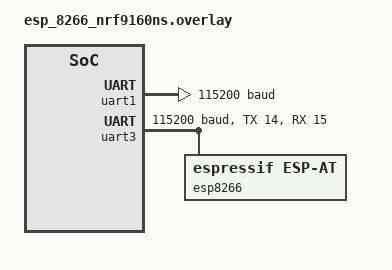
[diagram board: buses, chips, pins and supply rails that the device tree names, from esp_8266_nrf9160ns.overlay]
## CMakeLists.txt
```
#
# Copyright (c) 2021 Nordic Semiconductor
#
# SPDX-License-Identifier: LicenseRef-Nordic-5-Clause
#

cmake_minimum_required(VERSION 3.13.1)

find_package(Zephyr REQUIRED HINTS $ENV{ZEPHYR_BASE})
project(location_sample)

zephyr_library_sources(src/main.c)
```

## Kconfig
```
#
# Copyright (c) 2021 Nordic Semiconductor ASA
#
# SPDX-License-Identifier: LicenseRef-Nordic-5-Clause
#

menu "Location sample"

choice LOCATION_SAMPLE_GNSS_ANTENNA
	default LOCATION_SAMPLE_GNSS_ANTENNA_ONBOARD
	prompt "Select which antenna to use for GNSS"

config LOCATION_SAMPLE_GNSS_ANTENNA_ONBOARD
	bool "Use onboard antenna"

config LOCATION_SAMPLE_GNSS_ANTENNA_EXTERNAL
	bool "Use external antenna"

endchoice

config LOCATION_SAMPLE_GNSS_AT_MAGPIO
	string "AT%XMAGPIO command"
	default "AT\%XMAGPIO=1,0,0,1,1,1574,1577" if BOARD_NRF9160DK_NRF9160_NS
	default "AT\%XMAGPIO=1,1,1,7,1,746,803,2,698,748,2,1710,2200,3,824,894,4,880,960,5,791,849,7,1565,1586" if BOARD_THINGY91_NRF9160_NS
	help
	  Defines what is the AT%XMAGPIO command to be sent to GNSS module. Leave
	  empty if this command should not be sent.

config LOCATION_SAMPLE_GNSS_AT_COEX0
	string "AT%XCOEX0 command"
	default "AT\%XCOEX0=1,1,1565,1586" if (BOARD_NRF9160DK_NRF9160_NS || BOARD_THINGY91_NRF9160_NS) && LOCATION_SAMPLE_GNSS_ANTENNA_ONBOARD
	default "AT\%XCOEX0" if (BOARD_NRF9160DK_NRF9160_NS || BOARD_THINGY91_NRF9160_NS) && LOCATION_SAMPLE_GNSS_ANTENNA_EXTERNAL
	help
	  Defines what is the AT%XCOEX0 command to be sent to GNSS module. Leave
	  empty if this command should not be sent.

endmenu

menu "Zephyr Kernel"
source "Kconfig.zephyr"
endmenu
```

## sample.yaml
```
sample:
  name: location Sample
tests:
  samples.nrf9160.location:
    build_only: true
    platform_allow: nrf9160dk_nrf9160_ns
    integration_platforms:
      - nrf9160dk_nrf9160_ns
    tags: ci_build
  samples.nrf9160.location.esp_wifi:
    build_only: true
    platform_allow: nrf9160dk_nrf9160_ns
    integration_platforms:
      - nrf9160dk_nrf9160_ns
    extra_args: OVERLAY_CONFIG=overlay-esp-wifi.conf
                DTC_OVERLAY_FILE="esp_8266_nrf9160ns.overlay"
    tags: ci_build
  samples.nrf9160.location.pgps:
    build_only: true
    platform_allow: nrf9160dk_nrf9160_ns
    integration_platforms:
      - nrf9160dk_nrf9160_ns
    extra_args: OVERLAY_CONFIG=overlay-pgps.conf
    tags: ci_build
```

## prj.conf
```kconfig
#
# Copyright (c) 2021 Nordic Semiconductor ASA
#
# SPDX-License-Identifier: LicenseRef-Nordic-5-Clause
#

# General config
CONFIG_FPU=y
CONFIG_NEWLIB_LIBC=y
CONFIG_NEWLIB_LIBC_FLOAT_PRINTF=y
CONFIG_NRF_MODEM_LIB=y

# Heap and stacks
CONFIG_MAIN_STACK_SIZE=2048
# Extended memory heap size needed for encoding REST messages to JSON
CONFIG_HEAP_MEM_POOL_SIZE=8192
CONFIG_SYSTEM_WORKQUEUE_STACK_SIZE=1536

# Location sample
CONFIG_LOCATION=y
#CONFIG_LOCATION_SAMPLE_GNSS_ANTENNA_EXTERNAL=y

# Logging
CONFIG_LOG=y
CONFIG_LOG_MODE_IMMEDIATE=y

# Network
CONFIG_NETWORKING=y
CONFIG_NET_NATIVE=n
CONFIG_NET_SOCKETS=y
CONFIG_NET_SOCKETS_OFFLOAD=y

# LTE link control
CONFIG_LTE_LINK_CONTROL=y
CONFIG_LTE_NETWORK_MODE_LTE_M_GPS=y
CONFIG_LTE_AUTO_INIT_AND_CONNECT=n
CONFIG_LTE_EDRX_REQ=y
# Request PSM active time of 8 seconds.
CONFIG_LTE_PSM_REQ_RAT="00000100"

# nRF Cloud (for A-GPS and cell location)
CONFIG_NRF_CLOUD_REST=y
CONFIG_NRF_CLOUD_AGPS=y
CONFIG_MODEM_INFO=y # required by CONFIG_NRF_CLOUD_AGPS
CONFIG_MODEM_INFO_ADD_NETWORK=y # required by CONFIG_NRF_CLOUD_AGPS

# Library that maintains the current date time UTC for A-GPS and P-GPS purposes
CONFIG_DATE_TIME=y

# Modem JWT
CONFIG_MODEM_JWT=y

# Multicell location service selection
CONFIG_MULTICELL_LOCATION_SERVICE_NRF_CLOUD=y
```

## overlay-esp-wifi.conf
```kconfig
# ESP 8266 WIFI
CONFIG_WIFI=y
CONFIG_WIFI_LOG_LEVEL_DBG=y # optional
CONFIG_WIFI_OFFLOAD=y

CONFIG_NET_IPV4=y  # must for ESP8266 to compile
CONFIG_NET_NATIVE=y # must for ESP8266 to compile

CONFIG_WIFI_ESP_AT=y
CONFIG_WIFI_ESP_AT_SCAN_MAC_ADDRESS=y
CONFIG_WIFI_ESP_AT_SCAN_PASSIVE=n
CONFIG_WIFI_ESP_AT_VERSION_1_7=y
CONFIG_WIFI_ESP_AT_SCAN_RESULT_RSSI_ORDERED=y

CONFIG_LOCATION_METHOD_WIFI=y
```

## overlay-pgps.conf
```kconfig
#
# Copyright (c) 2021 Nordic Semiconductor ASA
#
# SPDX-License-Identifier: LicenseRef-Nordic-5-Clause
#

# P-GPS overlay configuration

# P-GPS
CONFIG_NRF_CLOUD_REST=y
CONFIG_NRF_CLOUD_PGPS=y
CONFIG_NRF_CLOUD_PGPS_REPLACEMENT_THRESHOLD=4
CONFIG_NRF_CLOUD_PGPS_REQUEST_UPON_INIT=n

# Storage for P-GPS
CONFIG_STREAM_FLASH=y
CONFIG_FLASH=y
CONFIG_FLASH_PAGE_LAYOUT=y
CONFIG_FLASH_MAP=y
CONFIG_FCB=y
CONFIG_SETTINGS_FCB=y
CONFIG_MPU_ALLOW_FLASH_WRITE=y

# P-GPS needs more heap
CONFIG_HEAP_MEM_POOL_SIZE=8192

# MCUBOOT - for partition containing PM_MCUBOOT_SECONDARY_ADDRESS
CONFIG_BOOTLOADER_MCUBOOT=y
CONFIG_IMG_MANAGER=y
CONFIG_MCUBOOT_IMG_MANAGER=y

# Download client library stack size needs to be increased with P-GPS
CONFIG_DOWNLOAD_CLIENT_STACK_SIZE=1280
```

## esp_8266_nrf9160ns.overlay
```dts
/* Copyright (c) 2021 Nordic Semiconductor ASA
 *
 * SPDX-License-Identifier: LicenseRef-Nordic-5-Clause
 */

 /*
  * DTS overlay to be used with connecting nRF9160DK with ESP8266-01 using
  * esp_at driver.
  *
  * https://en.wikipedia.org/wiki/ESP8266
  *
  * Wiring:
  * - Slide (SW9) to enable 3V mode.
  * - ESP8266 RX → DK P0.14 (TX)
  * - ESP8266 TX → DK P0.15 (RX)
  * - ESP8266 VCC → DK VDD
  * - ESP8266 CH_PD → DK VDD
  * - ESP8266 GND → DK GND.
  *
  * Compilation with SW overlay:
  * 'west build -p -b nrf9160dk_nrf9160_ns -- -DDTC_OVERLAY_FILE=esp_8266_nrf9160ns.overlay -DOVERLAY_CONFIG=overlay-esp-wifi.conf'
  */

&uart1 {
	status = "okay";
	current-speed = <115200>;
	rts-pin = <0xffffffff>;
	cts-pin = <0xffffffff>;
};

&uart3 {
	status = "okay";
	current-speed = <115200>;
	tx-pin = < 0xe >;
	rx-pin = < 0xf >;
	rts-pin = <0xffffffff>;
	cts-pin = <0xffffffff>;

	esp8266 {
		compatible = "espressif,esp-at";
		label = "esp8266";
		status = "okay";
	};
};
```

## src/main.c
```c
/*
 * Copyright (c) 2021 Nordic Semiconductor ASA
 *
 * SPDX-License-Identifier: LicenseRef-Nordic-5-Clause
 */

#include <string.h>
#include <zephyr.h>
#include <nrf_modem_at.h>
#include <modem/lte_lc.h>
#include <modem/location.h>
#include <date_time.h>

static K_SEM_DEFINE(location_event, 0, 1);

static void antenna_configure(void)
{
	int err;

	if (strlen(CONFIG_LOCATION_SAMPLE_GNSS_AT_MAGPIO) > 0) {
		err = nrf_modem_at_printf("%s", CONFIG_LOCATION_SAMPLE_GNSS_AT_MAGPIO);
		if (err) {
			printk("Failed to set MAGPIO configuration\n");
		}
	}

	if (strlen(CONFIG_LOCATION_SAMPLE_GNSS_AT_COEX0) > 0) {
		err = nrf_modem_at_printf("%s", CONFIG_LOCATION_SAMPLE_GNSS_AT_COEX0);
		if (err) {
			printk("Failed to set COEX0 configuration\n");
		}
	}
}

static K_SEM_DEFINE(time_update_finished, 0, 1);

static void date_time_evt_handler(const struct date_time_evt *evt)
{
	k_sem_give(&time_update_finished);
}

static void location_event_handler(const struct location_event_data *event_data)
{
	switch (event_data->id) {
	case LOCATION_EVT_LOCATION:
		printk("Got location:\n");
		printk("  method: %s\n", location_method_str(event_data->location.method));
		printk("  latitude: %.06f\n", event_data->location.latitude);
		printk("  longitude: %.06f\n", event_data->location.longitude);
		printk("  accuracy: %.01f m\n", event_data->location.accuracy);
		if (event_data->location.datetime.valid) {
			printk("  date: %04d-%02d-%02d\n",
				event_data->location.datetime.year,
				event_data->location.datetime.month,
				event_data->location.datetime.day);
			printk("  time: %02d:%02d:%02d.%03d UTC\n",
				event_data->location.datetime.hour,
				event_data->location.datetime.minute,
				event_data->location.datetime.second,
				event_data->location.datetime.ms);
		}
		printk("  Google maps URL: https://maps.google.com/?q=%.06f,%.06f\n\n",
			event_data->location.latitude, event_data->location.longitude);
		break;

	case LOCATION_EVT_TIMEOUT:
		printk("Getting location timed out\n\n");
		break;

	case LOCATION_EVT_ERROR:
		printk("Getting location failed\n\n");
		break;

	case LOCATION_EVT_GNSS_ASSISTANCE_REQUEST:
		printk("Getting location assistance requested. Not doing anything.\n\n");
		break;

	default:
		printk("Getting location: Unknown event\n\n");
		break;
	}

	k_sem_give(&location_event);
}

static void location_event_wait(void)
{
	k_sem_take(&location_event, K_FOREVER);
}

/**
 * @brief Retrieve location so that fallback is applied.
 *
 * @details This is achieved by setting GNSS as first priority method and giving it too short
 * timeout. Then a fallback to next method, which is cellular in this example, occurs.
 */
static void location_with_fallback_get(void)
{
	int err;
	struct location_config config;
	enum location_method methods[] = {LOCATION_METHOD_GNSS, LOCATION_METHOD_CELLULAR};

	location_config_defaults_set(&config, sizeof(methods), methods);
	/* GNSS timeout is set to 1 second to force a failure. */
	config.methods[0].gnss.timeout = 1;
	/* Default cellular configuration may be overridden here. */
	config.methods[1].cellular.timeout = 30;

	printk("Requesting location with short GNSS timeout to trigger fallback to cellular...\n");

	err = location_request(&config);
	if (err) {
		printk("Requesting location failed, error: %d\n", err);
		return;
	}

	location_event_wait();
}

/**
 * @brief Retrieve location with default configuration.
 *
 * @details This is achieved by not passing configuration at all to location_request().
 */
static void location_default_get(void)
{
	int err;

	printk("Requesting location with the default configuration...\n");

	err = location_request(NULL);
	if (err) {
		printk("Requesting location failed, error: %d\n", err);
		return;
	}

	location_event_wait();
}

/**
 * @brief Retrieve location with GNSS low accuracy.
 */
static void location_gnss_low_accuracy_get(void)
{
	int err;
	struct location_config config;
	enum location_method methods[] = {LOCATION_METHOD_GNSS};

	location_config_defaults_set(&config, sizeof(methods), methods);
	config.methods[0].gnss.accuracy = LOCATION_ACCURACY_LOW;

	printk("Requesting low accuracy GNSS location...\n");

	err = location_request(&config);
	if (err) {
		printk("Requesting location failed, error: %d\n", err);
		return;
	}

	location_event_wait();
}

/**
 * @brief Retrieve location with GNSS high accuracy.
 */
static void location_gnss_high_accuracy_get(void)
{
	int err;
	struct location_config config;
	enum location_method methods[] = {LOCATION_METHOD_GNSS};

	location_config_defaults_set(&config, sizeof(methods), methods);
	config.methods[0].gnss.accuracy = LOCATION_ACCURACY_HIGH;

	printk("Requesting high accuracy GNSS location...\n");

	err = location_request(&config);
	if (err) {
		printk("Requesting location failed, error: %d\n", err);
		return;
	}

	location_event_wait();
}

#if defined(CONFIG_LOCATION_METHOD_WIFI)
/**
 * @brief Retrieve location with Wi-Fi positioning as first priority, GNSS as second
 * and cellular as third.
 */
static void location_wifi_get(void)
{
	int err;
	struct location_config config;
	enum location_method methods[] = {
		LOCATION_METHOD_WIFI,
		LOCATION_METHOD_GNSS,
		LOCATION_METHOD_CELLULAR};

	location_config_defaults_set(&config, sizeof(methods), methods);

	printk("Requesting Wi-Fi location with GNSS and cellular fallback...\n");

	err = location_request(&config);
	if (err) {
		printk("Requesting location failed, error: %d\n", err);
		return;
	}

	location_event_wait();
}
#endif

/**
 * @brief Retrieve location periodically with GNSS as first priority and cellular as second.
 */
static void location_gnss_periodic_get(void)
{
	int err;
	struct location_config config;
	enum location_method methods[] = {LOCATION_METHOD_GNSS, LOCATION_METHOD_CELLULAR};

	location_config_defaults_set(&config, sizeof(methods), methods);
	config.interval = 30;

	printk("Requesting 30s periodic GNSS location with cellular fallback...\n");

	err = location_request(&config);
	if (err) {
		printk("Requesting location failed, error: %d\n", err);
		return;
	}
}

int main(void)
{
	int err;

	printk("Location sample started\n\n");

	antenna_configure();

	if (IS_ENABLED(CONFIG_DATE_TIME)) {
		/* Registering early for date_time event handler to avoid missing
		 * the first event after LTE is connected.
		 */
		date_time_register_handler(date_time_evt_handler);
	}

	printk("Connecting to LTE...\n");

	lte_lc_init();
	/* Enable PSM. */
	lte_lc_psm_req(true);
	lte_lc_connect();

	printk("Connected to LTE\n");

	/* A-GPS/P-GPS needs to know the current time. */
	if (IS_ENABLED(CONFIG_DATE_TIME)) {
		printk("Waiting for current time\n");

		/* Wait for an event from the Date Time library. */
		k_sem_take(&time_update_finished, K_MINUTES(10));

		if (!date_time_is_valid()) {
			printk("Failed to get current time. Continuing anyway.\n");
		}
	}

	err = location_init(location_event_handler);
	if (err) {
		printk("Initializing the Location library failed, error: %d\n", err);
		return -1;
	}

	/* The fallback case is run first, otherwise GNSS might get a fix even with a 1 second
	 * timeout.
	 */
	location_with_fallback_get();

	location_default_get();

	location_gnss_low_accuracy_get();

	location_gnss_high_accuracy_get();

#if defined(CONFIG_LOCATION_METHOD_WIFI)
	location_wifi_get();
#endif

	location_gnss_periodic_get();

	return 0;
}
```
